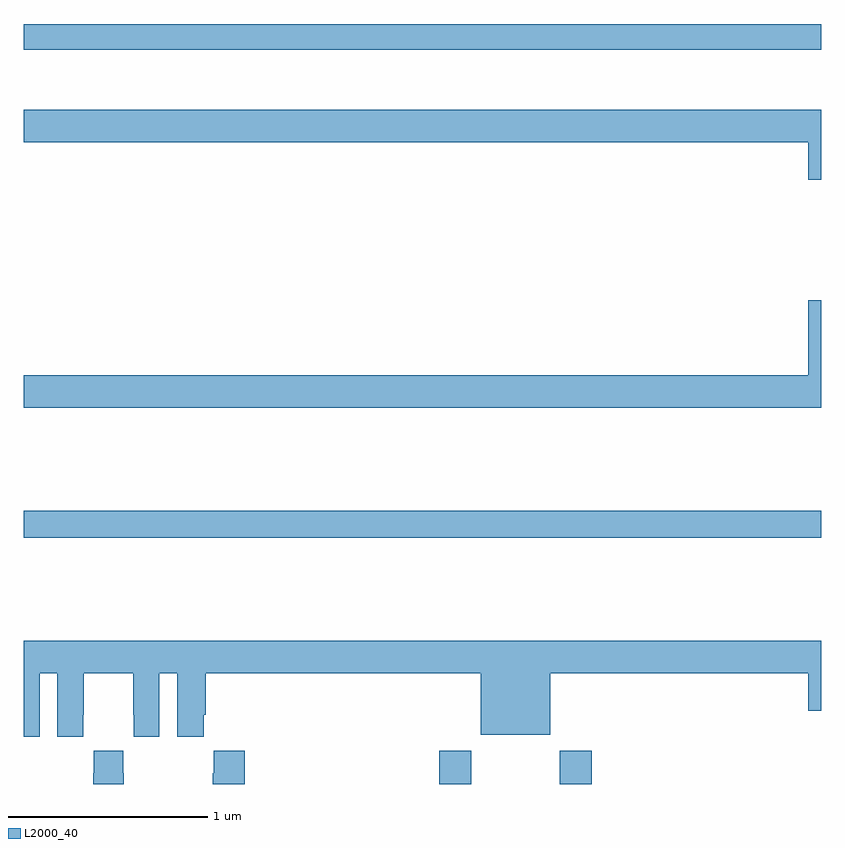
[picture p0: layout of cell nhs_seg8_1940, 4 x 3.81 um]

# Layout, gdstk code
import gdstk
lib = gdstk.Library(unit=1e-6, precision=1e-09)
def R(c, l, rs):  # rectangles x0, y0, x1, y1
    for r in rs: c.add(gdstk.rectangle(r[:2], r[2:], *l))
def P(c, l, *ps):  # polygons
    for p in ps: c.add(gdstk.Polygon(p, *l))
L2000_40 = (2000, 40)

nhs_seg8_1940 = lib.new_cell('nhs_seg8_1940')
R(nhs_seg8_1940, L2000_40, [(235.085,1159.9,235.245,1160.068), (235.69,1159.9,235.85,1160.068), (233,1161.136,237,1161.272), (233,1163.586,237,1163.714)])
P(nhs_seg8_1940, L2000_40, [(237,1163.284),(233,1163.284),(233,1163.12),(236.936,1163.12),(236.936,1162.932),(237,1162.932)],
  [(237,1162.327),(236.936,1162.327),(236.936,1161.952),(233,1161.952),(233,1161.788),(237,1161.788)],
  [(233.08,1160.456),(233.168,1160.456),(233.168,1160.136),(233.298,1160.136),(233.298,1160.248),(233.299,1160.248),(233.299,1160.456),(233.549,1160.456),(233.549,1160.248),(233.55,1160.248),(233.55,1160.136),(233.68,1160.136),(233.68,1160.456),(233.768,1160.456),(233.768,1160.136),(233.902,1160.136),(233.902,1160.248),(233.912,1160.248),(233.912,1160.456),(235.292,1160.456),(235.292,1160.147),(235.642,1160.147),(235.642,1160.456),(236.936,1160.456),(236.936,1160.268),(237,1160.268),(237,1160.62),(233,1160.62),(233,1160.136),(233.08,1160.136)],
  [(234.107,1160.068),(233.953,1160.068),(233.953,1159.955),(233.947,1159.955),(233.947,1159.9),(234.107,1159.9)],
  [(233.502,1159.955),(233.499,1159.955),(233.499,1160.068),(233.349,1160.068),(233.349,1159.955),(233.347,1159.955),(233.347,1159.9),(233.502,1159.9)])

lib.write_gds('nhs_seg8_1940.gds')
